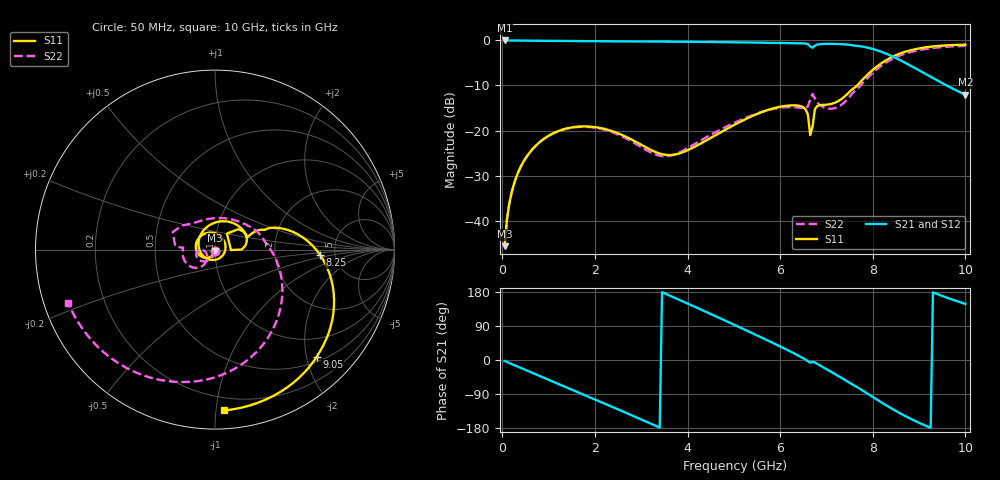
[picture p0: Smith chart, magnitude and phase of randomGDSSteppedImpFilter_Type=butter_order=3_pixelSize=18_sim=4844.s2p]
! freq	dB(S11)	phase(S11)	dB(S12)	phase(S12)
!  dB(S21)	phase(S21)	dB(S22)	phase(S22)
!S-par simulation data
#  GHz  S  DB  R 50
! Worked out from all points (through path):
!   200 points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, 50 MHz to 10 GHz, reference 50 ohm
!   highest |S21| = -0.01 dB at 50 MHz (marker M1); lowest = -12.1 dB at 10 GHz (marker M2)
!   group delay of S21, straight-line fit = 162 ps
!   lowest |S11| = -45.7 dB at 50 MHz (marker M3), VSWR 1.01, Z = 50 - j0.52 ohm
!   |S11| at or under -10 dB: start of sweep to 7.663 GHz
!   |S22| runs from -45.7 to -1.2 dB; largest |S21 - S12| = 0
!   S11 on the Smith chart (normalised r, x): 50 MHz: 1.00, -0.01; 8.25 GHz: 3.81, -0.35; 9.05 GHz: 0.59, -2.19; 10 GHz: 0.11, -1.05
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0.05  -45.67 -90.0  -0.01 -2.7  -0.01 -2.7  -45.65 -88.9
0.2  -33.85 -102.2  -0.02 -10.5  -0.02 -10.5  -33.83 -97.7
0.5  -26.21 -122.2  -0.05 -26.2  -0.05 -26.2  -26.20 -111.0
1.15  -20.38 -164.7  -0.11 -60.0  -0.11 -60.0  -20.40 -137.2
1.75  -19.09 154.1  -0.16 -91.1  -0.16 -91.1  -19.17 -158.6
2.5  -20.62 94.4  -0.19 -130.3  -0.19 -130.3  -20.89 -177.3
3.4  -25.11 -12.2  -0.23 -178.3  -0.23 -178.3  -25.59 -161.5
4.15  -23.63 -126.3  -0.30 140.8  -0.30 140.8  -23.01 -129.0
5.05  -18.53 129.1  -0.41 90.7  -0.41 90.7  -18.09 -129.4
6.05  -14.63 45.1  -0.57 32.8  -0.57 32.8  -14.88 -160.2
6.5  -14.84 13.4  -0.65 4.4  -0.65 4.4  -15.03 177.4
6.6  -16.50 0.3  -0.84 -3.4  -0.84 -3.4  -14.62 176.8
6.65  -21.02 -1.7  -1.32 -7.0  -1.32 -7.0  -13.06 174.9
6.7  -19.08 53.2  -1.63 -5.2  -1.63 -5.2  -11.88 157.4
6.8  -14.56 32.3  -0.92 -10.1  -0.92 -10.1  -13.75 136.7
7.15  -13.95 21.7  -0.76 -34.7  -0.76 -34.7  -15.11 89.2
7.55  -10.91 23.0  -1.05 -63.8  -1.05 -63.8  -11.86 23.4
7.9  -7.46 14.8  -1.63 -89.9  -1.63 -89.9  -8.16 -20.4
8.25  -4.63 -2.9  -2.78 -116.6  -2.78 -116.6  -5.14 -54.9
8.35  -4.03 -8.6  -3.21 -123.9  -3.21 -123.9  -4.51 -63.6
9.05  -1.68 -46.6  -6.93 -168.5  -6.93 -168.5  -2.05 -113.5
10  -0.94 -86.8  -12.06 148.1  -12.06 148.1  -1.21 -160.0
